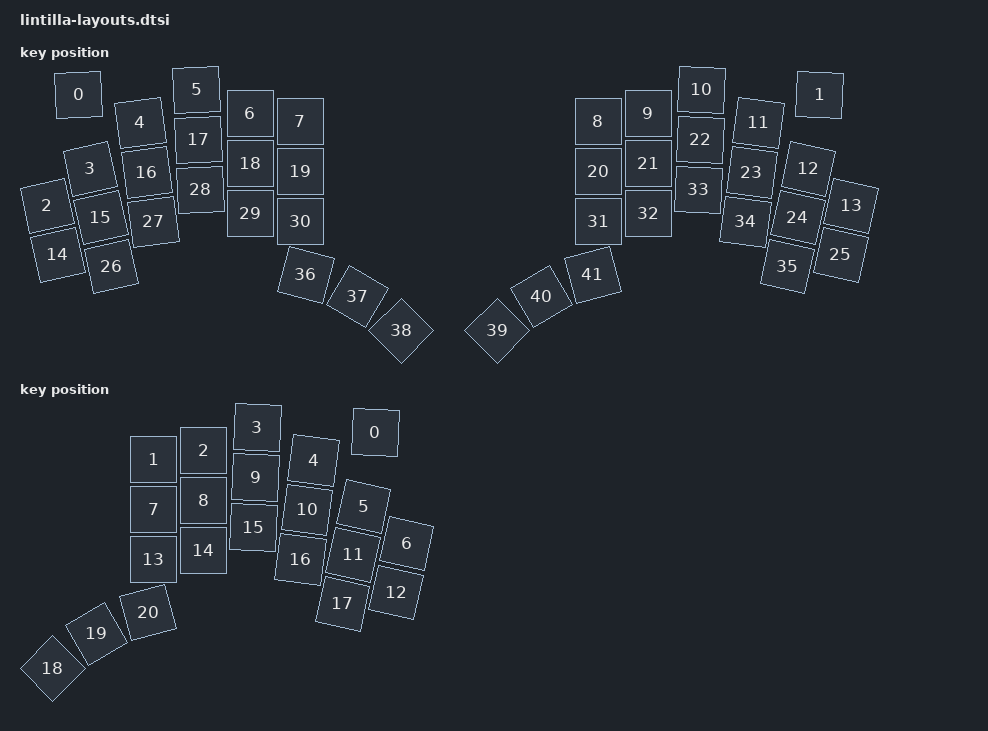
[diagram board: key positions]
#include <physical_layouts.dtsi>

/ {
    default_layout: default_layout {
        compatible = "zmk,physical-layout";
        display-name = "Default Layout";
        transform = <&default_transform>;
        keys  //                     w   h    x    y     rot    rx    ry
            = <&key_physical_attrs 100 100   63   10  (-250)   113    60>
            , <&key_physical_attrs 100 100 1545   10     250  1595    60>
            , <&key_physical_attrs 100 100    0  232 (-1250)    50   282>
            , <&key_physical_attrs 100 100   86  158 (-1250)   136   208>
            , <&key_physical_attrs 100 100  186   66  (-750)   236   116>
            , <&key_physical_attrs 100 100  299    0  (-250)   349    50>
            , <&key_physical_attrs 100 100  406   47       0     0     0>
            , <&key_physical_attrs 100 100  506   64       0     0     0>
            , <&key_physical_attrs 100 100 1102   64       0     0     0>
            , <&key_physical_attrs 100 100 1202   47       0     0     0>
            , <&key_physical_attrs 100 100 1309    0     250  1359    50>
            , <&key_physical_attrs 100 100 1422   66     750  1472   116>
            , <&key_physical_attrs 100 100 1522  158    1250  1572   208>
            , <&key_physical_attrs 100 100 1608  232    1250  1658   282>
            , <&key_physical_attrs 100 100   21  330 (-1250)    71   380>
            , <&key_physical_attrs 100 100  107  255 (-1250)   157   305>
            , <&key_physical_attrs 100 100  199  165  (-750)   249   215>
            , <&key_physical_attrs 100 100  302  100  (-250)   352   150>
            , <&key_physical_attrs 100 100  406  147       0     0     0>
            , <&key_physical_attrs 100 100  506  164       0     0     0>
            , <&key_physical_attrs 100 100 1102  164       0     0     0>
            , <&key_physical_attrs 100 100 1202  147       0     0     0>
            , <&key_physical_attrs 100 100 1306  100     250  1356   150>
            , <&key_physical_attrs 100 100 1409  165     750  1459   215>
            , <&key_physical_attrs 100 100 1501  255    1250  1551   305>
            , <&key_physical_attrs 100 100 1587  330    1250  1637   380>
            , <&key_physical_attrs 100 100  128  353 (-1250)   178   403>
            , <&key_physical_attrs 100 100  212  264  (-750)   262   314>
            , <&key_physical_attrs 100 100  306  200  (-250)   356   250>
            , <&key_physical_attrs 100 100  406  247       0     0     0>
            , <&key_physical_attrs 100 100  506  264       0     0     0>
            , <&key_physical_attrs 100 100 1102  264       0     0     0>
            , <&key_physical_attrs 100 100 1202  247       0     0     0>
            , <&key_physical_attrs 100 100 1302  200     250  1352   250>
            , <&key_physical_attrs 100 100 1396  264     750  1446   314>
            , <&key_physical_attrs 100 100 1480  353    1250  1530   403>
            , <&key_physical_attrs 100 100  517  370    1500   567   420>
            , <&key_physical_attrs 100 100  620  413    3000   670   463>
            , <&key_physical_attrs 100 100  708  482 (-4500)   758   532>
            , <&key_physical_attrs 100 100  900  482    4500   950   532>
            , <&key_physical_attrs 100 100  988  413 (-3000)  1038   463>
            , <&key_physical_attrs 100 100 1091  370 (-1500)  1141   420>
            ;
    };

    macro_right_layout: macro_right_layout {
        compatible = "zmk,physical-layout";
        display-name = "Macro Right";
        transform = <&macro_right_transform>;
        keys  //                     w   h    x    y     rot    rx    ry
            = <&key_physical_attrs 100 100 1545   10     250  1595    60>
            , <&key_physical_attrs 100 100 1102   64       0     0     0>
            , <&key_physical_attrs 100 100 1202   47       0     0     0>
            , <&key_physical_attrs 100 100 1309    0     250  1359    50>
            , <&key_physical_attrs 100 100 1422   66     750  1472   116>
            , <&key_physical_attrs 100 100 1522  158    1250  1572   208>
            , <&key_physical_attrs 100 100 1608  232    1250  1658   282>
            , <&key_physical_attrs 100 100 1102  164       0     0     0>
            , <&key_physical_attrs 100 100 1202  147       0     0     0>
            , <&key_physical_attrs 100 100 1306  100     250  1356   150>
            , <&key_physical_attrs 100 100 1409  165     750  1459   215>
            , <&key_physical_attrs 100 100 1501  255    1250  1551   305>
            , <&key_physical_attrs 100 100 1587  330    1250  1637   380>
            , <&key_physical_attrs 100 100 1102  264       0     0     0>
            , <&key_physical_attrs 100 100 1202  247       0     0     0>
            , <&key_physical_attrs 100 100 1302  200     250  1352   250>
            , <&key_physical_attrs 100 100 1396  264     750  1446   314>
            , <&key_physical_attrs 100 100 1480  353    1250  1530   403>
            , <&key_physical_attrs 100 100  900  482    4500   950   532>
            , <&key_physical_attrs 100 100  988  413 (-3000)  1038   463>
            , <&key_physical_attrs 100 100 1091  370 (-1500)  1141   420>
            ;
    };

    lintilla_position_map {
        compatible = "zmk,physical-layout-position-map";
        complete;
        full: full {
            physical-layout = <&default_layout>;
            positions
                = <    0                             1   >
                , < 2  3  4  5  6  7     8  9 10 11 12 13>
                , <14 15 16 17 18 19    20 21 22 23 24 25>
                , <   26 27 28 29 30    31 32 33 34 35   >
                , <            36 37 38 39 40 41         >
                ;
        };
        macro_right: macro {
            physical-layout = <&default_layout>;
            positions
                = <   41                             0   >
                , <40 39 38 37 36 35     1  2  3  4  5  6>
                , <34 33 32 31 30 29     7  8  9 10 11 12>
                , <   28 27 26 25 24    13 14 15 16 17   >
                , <            23 22 21 18 19 20         >
                ;
        };
    };
};

// vim: expandtab softtabstop=4 shiftwidth=4
